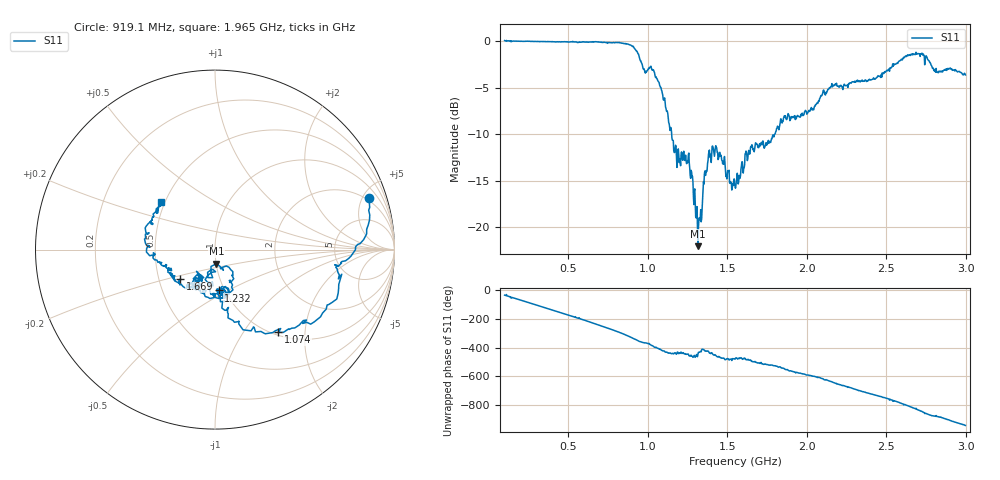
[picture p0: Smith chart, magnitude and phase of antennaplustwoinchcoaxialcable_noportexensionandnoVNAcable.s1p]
# HZ S RI R 50
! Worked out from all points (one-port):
!   1009 points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, 100 MHz to 2.997 GHz, reference 50 ohm
!   lowest |S11| = -22.0 dB at 1.316 GHz (marker M1), VSWR 1.17, Z = 50.2 - j7.96 ohm
!   |S11| at or under -10 dB: 1.15 GHz to 1.798 GHz (648.2 MHz wide, 44 % of centre)
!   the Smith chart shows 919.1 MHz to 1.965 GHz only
!   S11 on the Smith chart (normalised r, x): 919.1 MHz: 1.77, +5.62; 1.074 GHz: 1.05, -1.46; 1.232 GHz: 0.94, -0.45; 1.669 GHz: 0.64, -0.23; 1.965 GHz: 0.47, +0.30
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1e8  0.8248 -0.5748
1.948464e8  0.3842 -0.9197
2.810704e8  -0.124 -0.9876
3.672944e8  -0.5958 -0.793
4.621408e8  -0.9312 -0.3367
6.173439e8  -0.807 0.5661
7.26561e8  -0.2432 0.9532
8.242815e8  0.4181 0.8842
9.191279e8  0.859 0.2864
1.022597e9  0.6518 -0.2946
1.074331e9  0.3533 -0.4605
1.123191e9  0.1085 -0.4049
1.186422e9  0.0744 -0.2159
1.232408e9  0.02 -0.2277
1.315758e9  0.00811 -0.0788
1.419227e9  -0.00946 -0.2404
1.548563e9  -0.0758 -0.1511
1.669277e9  -0.1942 -0.1642
1.910704e9  -0.3506 0.1761
1.965312e9  -0.3024 0.2663
2.146383e9  0.0507 0.5612
2.272845e9  0.4507 0.3899
2.488405e9  0.5911 -0.327
2.634985e9  0.0595 -0.8411
2.695342e9  -0.3184 -0.7943
2.761447e9  -0.6493 -0.4544
2.896531e9  -0.7052 0.0767
2.997126e9  -0.4811 0.4481
